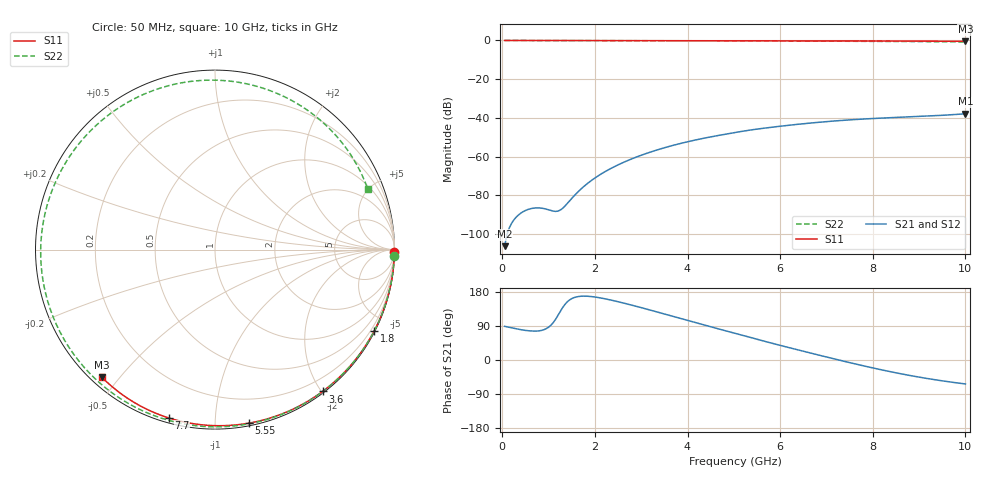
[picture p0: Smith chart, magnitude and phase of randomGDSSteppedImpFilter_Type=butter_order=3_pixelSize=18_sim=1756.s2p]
! freq	dB(S11)	phase(S11)	dB(S12)	phase(S12)
!  dB(S21)	phase(S21)	dB(S22)	phase(S22)
!S-par simulation data
#  GHz  S  DB  R 50
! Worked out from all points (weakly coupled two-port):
!   200 points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, 50 MHz to 10 GHz, reference 50 ohm
!   highest |S21| = -37.84 dB at 10 GHz (marker M1); lowest = -106.2 dB at 50 MHz (marker M2)
!   lowest |S11| = -0.4 dB at 10 GHz (marker M3), VSWR 38.91, Z = 1.54 - j22.4 ohm
!   |S11| at or under -10 dB: nowhere
!   |S22| runs from -0.8 to 0.0 dB; largest |S21 - S12| = 0
!   S11 on the Smith chart (normalised r, x): 50 MHz: open; 1.8 GHz: 0.04, -4.16; 3.6 GHz: 0.02, -2.01; 5.55 GHz: 0.02, -1.22; 7.7 GHz: 0.02, -0.76; 10 GHz: 0.03, -0.45
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0.05  -0.00 -0.8  -106.22 88.8  -106.22 88.8  -0.00 -1.9
0.75  -0.01 -11.4  -86.44 76.4  -86.44 76.4  -0.03 -28.5
1.55  -0.03 -23.3  -80.25 164.6  -80.25 164.6  -0.07 -57.6
1.75  -0.03 -26.3  -75.62 168.6  -75.62 168.6  -0.08 -64.5
1.8  -0.03 -27.0  -74.60 168.5  -74.60 168.5  -0.08 -66.3
2.1  -0.04 -31.4  -69.45 164.2  -69.45 164.2  -0.09 -76.5
2.45  -0.05 -36.5  -64.81 155.3  -64.81 155.3  -0.11 -88.0
2.9  -0.06 -43.0  -60.16 141.4  -60.16 141.4  -0.12 -102.3
3.4  -0.07 -50.1  -56.11 124.8  -56.11 124.8  -0.14 -117.5
3.6  -0.07 -52.8  -54.73 118.0  -54.73 118.0  -0.15 -123.4
4.35  -0.09 -63.1  -50.50 92.5  -50.50 92.5  -0.18 -145.0
5.05  -0.11 -72.4  -47.44 69.8  -47.44 69.8  -0.22 -164.7
5.55  -0.13 -78.9  -45.61 53.1  -45.61 53.1  -0.25 -178.8
6.15  -0.15 -86.5  -43.88 33.9  -43.88 33.9  -0.29 163.9
6.7  -0.18 -93.3  -42.54 17.0  -42.54 17.0  -0.34 147.5
7.2  -0.21 -99.3  -41.52 1.9  -41.52 1.9  -0.38 131.7
7.7  -0.24 -105.3  -40.71 -12.6  -40.71 -12.6  -0.43 114.9
8.35  -0.29 -112.9  -39.90 -30.1  -39.90 -30.1  -0.50 91.3
8.75  -0.32 -117.5  -39.49 -39.7  -39.49 -39.7  -0.55 75.7
9.15  -0.36 -122.1  -39.07 -48.3  -39.07 -48.3  -0.60 59.2
9.6  -0.40 -127.2  -38.51 -56.8  -38.51 -56.8  -0.68 39.8
10  -0.45 -131.7  -37.84 -63.3  -37.84 -63.3  -0.77 21.7
